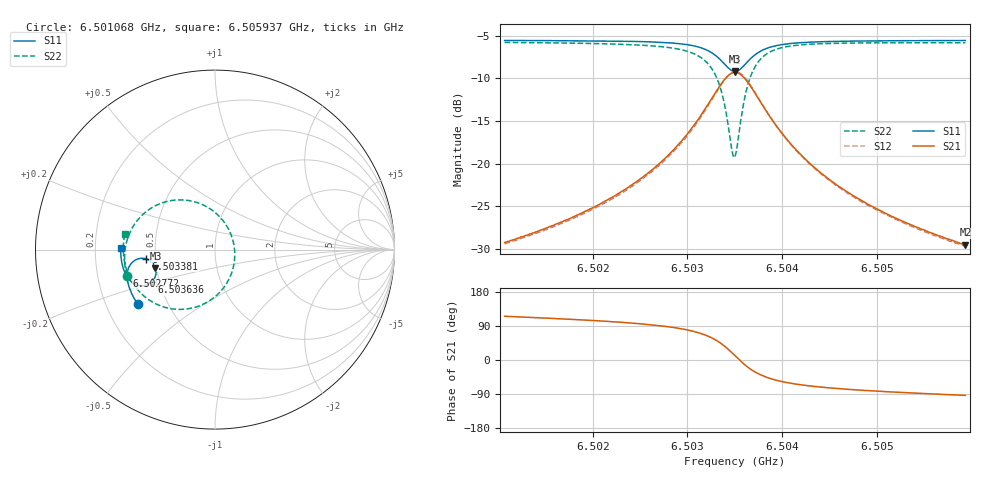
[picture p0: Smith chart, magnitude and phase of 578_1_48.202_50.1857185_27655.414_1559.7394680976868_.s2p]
#  HZ  S  RI  R  50.00
! Rohde & Schwarz Vector Network Analyzer
! Rohde-Schwarz,ZNB20-2Port,1311601062101988,3.16
! Created: UTC 3/20/2024, 12:01:58 PM
! freq[Hz]  re:S11  im:S11  re:S21  im:S21  re:S12  im:S12  re:S22  im:S22
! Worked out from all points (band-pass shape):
!   401 points, 6.501068 GHz to 6.505937 GHz, reference 50 ohm
!   highest |S21| = -9.31 dB at 6.503502 GHz (marker M1); lowest = -29.5 dB at 6.505937 GHz (marker M2)
!   |S21| within 3 dB of the highest: 6.503259 GHz to 6.503746 GHz (486.9 kHz wide, 0.00749 % of centre)
!   lowest |S11| = -9.2 dB at 6.503502 GHz (marker M3), VSWR 2.06, Z = 24.7 - j5.74 ohm
!   |S11| at or under -10 dB: nowhere
!   |S22| runs from -19.3 to -5.8 dB; largest |S21 - S12| = 0.012
!   S11 on the Smith chart (normalised r, x): 6.501068 GHz: 0.34, -0.28; 6.502772 GHz: 0.33, -0.13; 6.503381 GHz: 0.44, -0.05; 6.503636 GHz: 0.45, -0.19; 6.505937 GHz: 0.31, +0.01
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6.5010675e9  -0.4316 -0.3023  -0.0148 0.0312  -0.0131 0.0314  -0.4923 -0.1452
6.5018832e9  -0.4659 -0.241  -0.014 0.0495  -0.0117 0.049  -0.5039 -0.0568
6.5023458e9  -0.4818 -0.1989  -0.0107 0.0702  -0.0077 0.0691  -0.4993 0.0111
6.5026988e9  -0.4894 -0.1588  -0.00119 0.0998  0.00226 0.0975  -0.4787 0.0848
6.5027718e9  -0.4899 -0.1488  0.00274 0.1088  0.00637 0.1059  -0.4698 0.1042
6.5029788e9  -0.4861 -0.1155  0.0241 0.1428  0.0279 0.1386  -0.4252 0.1718
6.503137e9  -0.4713 -0.0831  0.0641 0.1791  0.0667 0.1732  -0.348 0.2358
6.5032831e9  -0.4329 -0.0533  0.1463 0.208  0.147 0.202  -0.198 0.2771
6.5033318e9  -0.4115 -0.0484  0.1891 0.2068  0.1893 0.2013  -0.1229 0.2687
6.5033805e9  -0.386 -0.0504  0.2386 0.1915  0.2387 0.187  -0.0383 0.2343
6.5034657e9  -0.3426 -0.08  0.318 0.1163  0.3205 0.1124  0.0884 0.0862
6.5035023e9  -0.3315 -0.1023  0.3357 0.0671  0.3396 0.0618  0.1097 -0.00631
6.5035266e9  -0.3283 -0.1188  0.3394 0.0319  0.3437 0.0254  0.1073 -0.0705
6.5035631e9  -0.3305 -0.1432  0.3321 -0.0189  0.3359 -0.0276  0.08 -0.1607
6.5036362e9  -0.3531 -0.181  0.2847 -0.0962  0.2849 -0.1078  -0.0314 -0.2855
6.5037457e9  -0.3992 -0.2015  0.1967 -0.142  0.1916 -0.1521  -0.2098 -0.3328
6.503904e9  -0.4469 -0.1921  0.1117 -0.1381  0.1046 -0.1434  -0.3625 -0.2837
6.5040744e9  -0.4751 -0.1706  0.0658 -0.1167  0.0594 -0.119  -0.4368 -0.2164
6.5043179e9  -0.4961 -0.1407  0.0349 -0.0911  0.03 -0.0918  -0.4812 -0.1426
6.5047075e9  -0.5126 -0.0993  0.0145 -0.066  0.0113 -0.0654  -0.5049 -0.0626
6.5051335e9  -0.5212 -0.0594  0.0051 -0.0498  0.00294 -0.0492  -0.5105 -0.000879
6.505937e9  -0.5265 0.0092  -0.00192 -0.0335  -0.00337 -0.0327  -0.5034 0.0859
